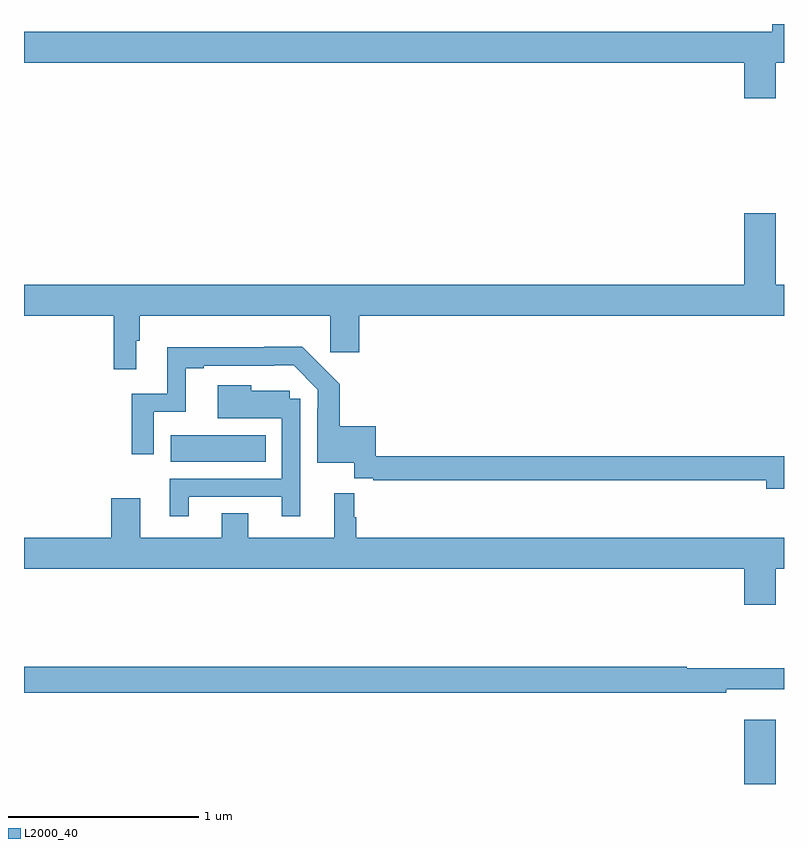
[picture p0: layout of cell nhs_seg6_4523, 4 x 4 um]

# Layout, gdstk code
import gdstk
lib = gdstk.Library(unit=1e-6, precision=1e-09)
def R(c, l, rs):  # rectangles x0, y0, x1, y1
    for r in rs: c.add(gdstk.rectangle(r[:2], r[2:], *l))
def P(c, l, *ps):  # polygons
    for p in ps: c.add(gdstk.Polygon(p, *l))
L2000_40 = (2000, 40)

nhs_seg6_4523 = lib.new_cell('nhs_seg6_4523')
R(nhs_seg6_4523, L2000_40, [(380.792,983.5,380.956,983.839), (377.772,985.196,378.272,985.336)])
P(nhs_seg6_4523, L2000_40, [(380.956,987.296),(381,987.296),(381,987.5),(380.939,987.5),(380.939,987.46),(377,987.46),(377,987.296),(380.792,987.296),(380.792,987.108),(380.956,987.108)],
  [(377.59,985.832),(377.609,985.832),(377.609,985.964),(378.613,985.964),(378.613,985.773),(378.764,985.773),(378.764,985.964),(381,985.964),(381,986.128),(380.956,986.128),(380.956,986.503),(380.792,986.503),(380.792,986.128),(377,986.128),(377,985.964),(377.473,985.964),(377.473,985.683),(377.59,985.683)],
  [(381,985.226),(378.851,985.226),(378.851,985.384),(378.662,985.384),(378.662,985.603),(378.464,985.801),(378.265,985.801),(378.265,985.798),(377.753,985.798),(377.753,985.554),(377.566,985.554),(377.566,985.236),(377.682,985.236),(377.682,985.458),(377.851,985.458),(377.851,985.689),(377.947,985.689),(377.947,985.701),(378.317,985.701),(378.317,985.703),(378.419,985.703),(378.546,985.575),(378.546,985.475),(378.543,985.475),(378.543,985.19),(378.737,985.19),(378.737,985.11),(378.838,985.11),(378.838,985.098),(380.906,985.098),(380.906,985.055),(381,985.055)],
  [(377.866,985.011),(378.356,985.011),(378.356,984.909),(378.453,984.909),(378.453,985.527),(378.399,985.527),(378.399,985.57),(378.196,985.57),(378.196,985.6),(378.02,985.6),(378.02,985.424),(378.357,985.424),(378.357,985.107),(377.768,985.107),(377.768,984.909),(377.866,984.909)],
  [(380.956,984.632),(381,984.632),(381,984.796),(378.749,984.796),(378.749,984.905),(378.737,984.905),(378.737,985.029),(378.632,985.029),(378.632,984.796),(378.181,984.796),(378.181,984.926),(378.041,984.926),(378.041,984.796),(377.611,984.796),(377.611,985.003),(377.459,985.003),(377.459,984.796),(377,984.796),(377,984.632),(380.792,984.632),(380.792,984.444),(380.956,984.444)],
  [(380.696,983.999),(381,983.999),(381,984.109),(380.489,984.109),(380.489,984.116),(377,984.116),(377,983.98),(380.696,983.98)])

lib.write_gds('nhs_seg6_4523.gds')
